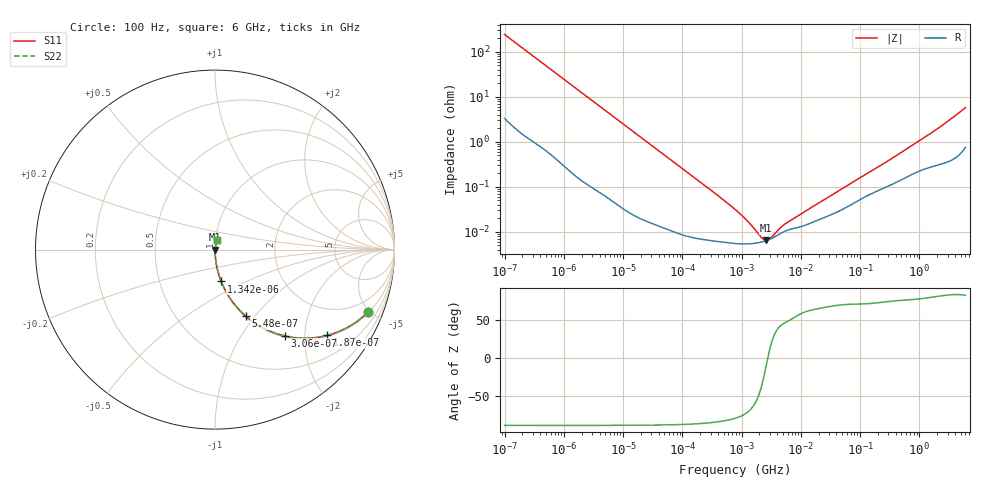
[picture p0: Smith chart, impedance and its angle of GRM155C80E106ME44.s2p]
!Murata Part Number: GRM155C80E106ME44
!These Parameters are Measured in Series Mode Connection
!Data Generated on Mar 30, 2021
!  o--ll--o
!Port1  Port2
!  o------o
!Operation Temp=25[degC], DC Bias Voltage=0[V]
!Freq. Start=100[Hz] Stop=6[GHz] 401[Steps]
# Hz S RI R 50
!Freq.(Hz) S11(Real) S11(Imag) S21(Real) S21(Imag) S12(Real) S12(Imag) S22(Real) S22(Imag)
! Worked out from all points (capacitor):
!   401 points, 100 Hz to 6 GHz, reference 50 ohm
!   read as one part in series: C = 6.55 uF near 109 Hz
!   lowest |Z| = 6.45 mohm at 2.595 MHz (marker M1)
!   series resonance near 2.773 MHz, so ESL is about 500 pH
!   S11 on the Smith chart (normalised r, x): 100 Hz: 1.07, -4.85; 187 Hz: 1.03, -2.60; 306 Hz: 1.02, -1.59; 548 Hz: 1.01, -0.89; 1.342 kHz: 1.00, -0.37; 6 GHz: 1.02, +0.11
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100  0.8512 -0.3492  0.1488 0.3492  0.1488 0.3492  0.8512 -0.3492
131  0.7721 -0.4132  0.2279 0.4132  0.2279 0.4132  0.7721 -0.4132
187  0.6266 -0.4777  0.3734 0.4777  0.3734 0.4777  0.6266 -0.4777
306  0.3896 -0.4815  0.6104 0.4815  0.6104 0.4815  0.3896 -0.4815
548  0.17 -0.3693  0.83 0.3693  0.83 0.3693  0.17 -0.3693
820  0.0854 -0.2735  0.9146 0.2735  0.9146 0.2735  0.0854 -0.2735
1342  0.0346 -0.1773  0.9654 0.1773  0.9654 0.1773  0.0346 -0.1773
2008  0.0163 -0.1211  0.9837 0.1211  0.9837 0.1211  0.0163 -0.1211
6433  0.00199 -0.0387  0.998 0.0387  0.998 0.0387  0.00199 -0.0387
40335  0.000172 -0.00626  0.9998 0.00626  0.9998 0.00626  0.000172 -0.00626
345986  6.26e-05 -0.000734  0.9999 0.000734  0.9999 0.000734  6.26e-05 -0.000734
774597  5.48e-05 -0.00031  0.9999 0.00031  0.9999 0.00031  5.48e-05 -0.00031
1159002  5.37e-05 -0.000186  0.9999 0.000186  0.9999 0.000186  5.37e-05 -0.000186
1734173  5.57e-05 -9.1e-05  0.9999 9.1e-05  0.9999 9.1e-05  5.57e-05 -9.1e-05
1983483  5.75e-05 -6.34e-05  0.9999 6.34e-05  0.9999 6.34e-05  5.75e-05 -6.34e-05
2594782  6.34e-05 -1.21e-05  0.9999 1.21e-05  0.9999 1.21e-05  6.34e-05 -1.21e-05
3882480  8.11e-05 5.83e-05  0.9999 -5.83e-05  0.9999 -5.83e-05  8.11e-05 5.83e-05
5809218  0.000107 0.000117  0.9999 -0.000117  0.9999 -0.000117  0.000107 0.000117
1.555665e7  0.000161 0.000318  0.9998 -0.000318  0.9998 -0.000318  0.000161 0.000318
3.124326e8  0.00107 0.00377  0.9989 -0.00377  0.9989 -0.00377  0.00107 0.00377
1.637704e9  0.00302 0.0157  0.997 -0.0157  0.997 -0.0157  0.00302 0.0157
6e9  0.0106 0.0557  0.9894 -0.0557  0.9894 -0.0557  0.0106 0.0557
